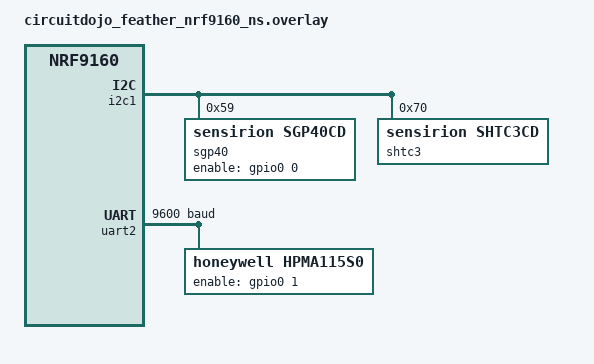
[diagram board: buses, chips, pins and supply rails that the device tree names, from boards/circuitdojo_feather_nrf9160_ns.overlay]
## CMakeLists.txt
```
#
# Copyright (c) 2021 Circuit Dojo LLC
#

cmake_minimum_required(VERSION 3.13.4)

# Determine the build type
if (NOT BUILD_TYPE)
  set(BUILD_TYPE debug)
endif()

# Print out build type
message(STATUS "Build type: ${BUILD_TYPE} 🚀")

# Adding custom overlay to add settings that aren't included in the SDK (yet) for the nRF9160 Feather
if(${BOARD} STREQUAL circuitdojo_feather_nrf9160ns)
message(STATUS "Adding .overlay for mcuboot.")
list(APPEND mcuboot_DTC_OVERLAY_FILE
  "${CMAKE_CURRENT_SOURCE_DIR}/mcuboot/circuitdojo_feather_nrf9160ns.overlay"
  )
endif()

# Set environment variables
# set(ZEPHYR_TOOLCHAIN_VARIANT gnuarmemb)
# set(GNUARMEMB_TOOLCHAIN_PATH "C:\\Program Files (x86)\\GNU Tools Arm Embedded\\9 2019-q4-major")
# set(GNUARMEMB_TOOLCHAIN_PATH /Users/jaredwolff/gcc-arm-none-eabi-9-2019-q4-major)

find_package(Zephyr REQUIRED HINTS $ENV{ZEPHYR_BASE})

project(air-quality-wing-demo)

target_sources(app PRIVATE src/main.c)
```

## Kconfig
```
#
# Copyright (c) 2021 Circuit Dojo LLC
#

mainmenu "Air Quality Wing Zephyr Demo"

source "Kconfig.zephyr"
```

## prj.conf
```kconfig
# Heap and stacks
CONFIG_INIT_STACKS=y
CONFIG_MAIN_STACK_SIZE=2048

# GPIO
CONFIG_GPIO=y

# Logging
CONFIG_LOG=y
CONFIG_CONSOLE=y

# Sensors
CONFIG_I2C=y
CONFIG_SENSOR=y
CONFIG_SHTC3=y
CONFIG_SGP40_CD=y
CONFIG_SERIAL=y
CONFIG_HPMA115S0=y

# AWQ Library
CONFIG_AQW=y

# CONFIG_SENSOR_LOG_LEVEL_DBG=y
# CONFIG_AQW_LOG_LEVEL_DBG=y
```

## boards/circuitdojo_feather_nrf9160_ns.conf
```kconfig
CONFIG_UART_ASYNC_API=y

# Logging
CONFIG_UART_CONSOLE=y
CONFIG_LOG_MODE_IMMEDIATE=y
CONFIG_LOG_BACKEND_UART=y

# Enable MCUboot bootloader
CONFIG_BOOTLOADER_MCUBOOT=y
```

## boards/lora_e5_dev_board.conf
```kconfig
CONFIG_LOG=y

# DMA
CONFIG_DMA=y
CONFIG_DMA_STM32=y

# ASYNC Uart
CONFIG_UART_STM32=y
CONFIG_UART_ASYNC_API=y

# Enable bootloader
CONFIG_BOOTLOADER_MCUBOOT=y
CONFIG_MCUBOOT_SIGNATURE_KEY_FILE="bootloader/mcuboot/root-rsa-2048.pem"
```

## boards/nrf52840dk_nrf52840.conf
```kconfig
CONFIG_UART_ASYNC_API=y

# Logging
CONFIG_UART_CONSOLE=y
CONFIG_LOG_MODE_IMMEDIATE=y
CONFIG_LOG_BACKEND_UART=y
```

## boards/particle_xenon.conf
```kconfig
# Increase stack size
CONFIG_MAIN_STACK_SIZE=4092

# UART for HPMA
CONFIG_UART_ASYNC_API=y
CONFIG_UART_0_INTERRUPT_DRIVEN=n
CONFIG_UART_0_ASYNC=y
CONFIG_UART_0_NRF_HW_ASYNC=y
CONFIG_UART_0_NRF_HW_ASYNC_TIMER=1

# USB
CONFIG_USB_DEVICE_STACK=y
CONFIG_USB_DEVICE_INITIALIZE_AT_BOOT=y
CONFIG_USB_DEVICE_PRODUCT="Air Quality Wing"
CONFIG_USB_CDC_ACM_LOG_LEVEL_WRN=y

# Segger RTT
# CONFIG_USE_SEGGER_RTT=y
# CONFIG_RTT_CONSOLE=y
# CONFIG_UART_CONSOLE=n
# CONFIG_LOG_BACKEND_RTT=y
# CONFIG_LOG_BACKEND_UART=n
```

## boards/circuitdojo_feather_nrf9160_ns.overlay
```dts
/*
 * Copyright (c) 2021 Circuit Dojo LLC
 */

&i2c1 {
    sgp40@59 {
        compatible = "sensirion,sgp40cd";
        reg = <0x59>;
        enable-gpios = <&gpio0 0 GPIO_ACTIVE_HIGH>;
    };

    shtc3@70 {
        compatible = "sensirion,shtc3cd";
        reg = <0x70>;
    };
};

&uart2 {
    compatible = "nordic,nrf-uarte";
    current-speed = <9600>;
    status = "okay";

    hpma115s0 {
        compatible = "honeywell,hpma115s0";
        enable-gpios = <&gpio0 1 GPIO_ACTIVE_HIGH>;
    };
};
```

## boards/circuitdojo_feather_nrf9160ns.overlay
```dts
/*
 * Copyright (c) 2021 Circuit Dojo LLC
 */

 &i2c1 {
    sgp40@59 {
        compatible = "sensirion,sgp40";
        reg = <0x59>;
        label = "SGP40";
        enable-gpios = <&gpio0 0 GPIO_ACTIVE_HIGH>;
    };

	shtc3@70 {
		compatible = "sensirion,shtc3";
		reg = <0x70>;
		label = "SHTC3";
    };
};

&uart2 {
    compatible = "nordic,nrf-uarte";
    current-speed = <9600>;
    tx-pin = <24>;
	rx-pin = <23>;
    status = "okay";

    hpma115s0 {
        compatible = "honeywell,hpma115s0";
        label = "HPMA115S0";
        enable-gpios = <&gpio0 1 GPIO_ACTIVE_HIGH>;
    };
};
```

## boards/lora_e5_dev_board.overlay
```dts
/*
 * Copyright (c) 2021 Circuit Dojo LLC
 */

/delete-node/ &storage_partition;

/ {
    chosen {
        zephyr,code-partition = &slot0_partition;
    };
};

&i2c2 {
    sgp40@59 {
        compatible = "sensirion,sgp40cd";
        reg = <0x59>;
    };

    shtc3@70 {
        compatible = "sensirion,shtc3cd";
        reg = <0x70>;
    };
};

&lpuart1 {
    current-speed = <9600>;
    dmas = <&dmamux1 11 22 0x20440
    &dmamux1 1 21 0x20480>;
    dma-names = "tx", "rx";

    hpma115s0 {
        compatible = "honeywell,hpma115s0";
        enable-gpios = <&gpiob 5 GPIO_ACTIVE_HIGH>;
    };
};

&flash0 {
    partitions {
        compatible = "fixed-partitions";
        #address-cells = <1>;
        #size-cells = <1>;

        boot_partition: partition@0 {
            label = "mcuboot";
            reg = <0x000000000 0x00010000>;
        };
        slot0_partition: partition@10000 {
            label = "image-0";
            reg = <0x000010000 0x000016000>;
        };
        slot1_partition: partition@26000 {
            label = "image-1";
            reg = <0x00026000 0x000016000>;
        };
        scratch_partition: partition@3c000 {
            label = "image-scratch";
            reg = <0x0003c000 0x00002000>;
        };
        storage_partition: partition@3e000 {
            label = "storage";
            reg = <0x0003e000 0x00002000>;
        };
    };
};

&dma1 {
    status = "okay";
};

&dma2 {
    status = "okay";
};

&dmamux1 {
    status = "okay";
};
```

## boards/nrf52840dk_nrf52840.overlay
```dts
/*
 * Copyright (c) 2021 Circuit Dojo LLC
 */

&i2c0 {
    compatible = "nordic,nrf-twim";
    status = "okay";
    clock-frequency = <I2C_BITRATE_STANDARD>;

    sgp40@59 {
        compatible = "sensirion,sgp40cd";
        reg = <0x59>;
        enable-gpios = <&gpio0 2 GPIO_ACTIVE_HIGH>;
    };

    shtc3@70 {
        compatible = "sensirion,shtc3cd";
        reg = <0x70>;
    };
};

&pinctrl {
    uart1_default_alt: uart1_default_alt {
        group1 {
            psels = <NRF_PSEL(UART_RX, 0, 30)>;
            bias-pull-up;
        };
        group2 {
            psels = <NRF_PSEL(UART_TX, 0, 31)>;
        };
    };

    uart1_sleep_alt: uart1_sleep_alt {
        group1 {
            psels = <NRF_PSEL(UART_RX, 0, 30)>,
                <NRF_PSEL(UART_TX, 0, 31)>;
            low-power-enable;
        };
    };
};

&uart1 {
    compatible = "nordic,nrf-uarte";
    current-speed = <9600>;
    pinctrl-0 = <&uart1_default_alt>;
	pinctrl-1 = <&uart1_sleep_alt>;
	pinctrl-names = "default", "sleep";

    hpma115s0 {
        compatible = "honeywell,hpma115s0";
        enable-gpios = <&gpio0 29 GPIO_ACTIVE_HIGH>;
    };
};
```

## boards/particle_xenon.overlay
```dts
/*
 * Copyright (c) 2021 Circuit Dojo LLC
 */

/ {
	chosen {
		zephyr,console = &cdc_acm_uart0;
		zephyr,shell-uart = &cdc_acm_uart0;
		zephyr,uart-mcumgr = &cdc_acm_uart0;
	};
};

&zephyr_udc0 {
	cdc_acm_uart0: cdc_acm_uart0 {
		compatible = "zephyr,cdc-acm-uart";
	};
};

&i2c0 {
    compatible = "nordic,nrf-twim";
    status = "okay";
    clock-frequency = <I2C_BITRATE_STANDARD>;

    sgp40@59 {
        compatible = "sensirion,sgp40cd";
        reg = <0x59>;
        enable-gpios = <&gpio1 8 GPIO_ACTIVE_HIGH>;
    };

    shtc3@70 {
        compatible = "sensirion,shtc3cd";
        reg = <0x70>;
    };
};

&uart0 {
    compatible = "nordic,nrf-uarte";
    current-speed = <9600>;

    hpma115s0 {
        compatible = "honeywell,hpma115s0";
        enable-gpios = <&gpio1 10 GPIO_ACTIVE_HIGH>;
    };
};
```

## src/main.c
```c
/**
 * @author Jared Wolff (hello@jaredwolff.com)
 * @copyright Copyright Circuit Dojo LLC 2021
 */

#include <zephyr/kernel.h>
#include <zephyr/device.h>
#include <zephyr/drivers/sensor.h>
#include <zephyr/devicetree.h>
#include <zephyr/logging/log.h>
LOG_MODULE_REGISTER(aqw_basic_demo);

#include <aqw.h>

/* Inverval in seconds */
#define STANDARD_SENSOR_INTERVAL 60

static struct aqw_sensor temperature_sensor =
    {
        .type = AQW_TEMPERATURE_SENSOR,
        .chan = SENSOR_CHAN_AMBIENT_TEMP,
        .dev = DEVICE_DT_GET_ONE(sensirion_shtc3cd),
        .interval = STANDARD_SENSOR_INTERVAL,
};

static struct aqw_sensor humidity_sensor =
    {
        .type = AQW_HUMIDITY_SENSOR,
        .chan = SENSOR_CHAN_HUMIDITY,
        .dev = DEVICE_DT_GET_ONE(sensirion_shtc3cd),
        .interval = STANDARD_SENSOR_INTERVAL,
};

static struct aqw_sensor voc_sensor =
    {
        .type = AQW_VOC_SENSOR,
        .chan = SENSOR_CHAN_VOC,
        .dev = DEVICE_DT_GET_ONE(sensirion_sgp40cd),
        .interval = STANDARD_SENSOR_INTERVAL,
};

static struct aqw_sensor hpma_sensor =
    {
        .type = AQW_PM25_SENSOR,
        .chan = SENSOR_CHAN_PM_2_5,
        .dev = DEVICE_DT_GET_ONE(honeywell_hpma115s0),
        .interval = STANDARD_SENSOR_INTERVAL,
};

static struct aqw_sensor *sensors[] = {
    &temperature_sensor,
    &humidity_sensor,
    &voc_sensor,
    &hpma_sensor,
};

void sensor_cb(struct aqw_sensor_data *data, size_t len)
{
    for (int i = 0; i < len; i++)
    {

        /* Skip if not valid */
        if (data[i].type == AQW_INVALID_SENSOR)
            continue;

        LOG_INF("%s: %i.%i%s", aqw_sensor_type_to_string(data[i].type), data[i].val.val1, data[i].val.val2, aqw_sensor_unit_to_string(data[i].type));
    }
}

void main(void)
{
    int err = 0;

    LOG_INF("Air Quality Wing Demo");

    /* Init Air Quality Wing */
    err = aqw_init(sensors, ARRAY_SIZE(sensors), sensor_cb);
    if (err)
        __ASSERT_MSG_INFO("Unable to init Air Quality Wing library. Err: %i", err);

    err = aqw_sensor_start_fetch();
    if (err)
        __ASSERT_MSG_INFO("Unable to start fetch. Err: %i", err);
}
```
